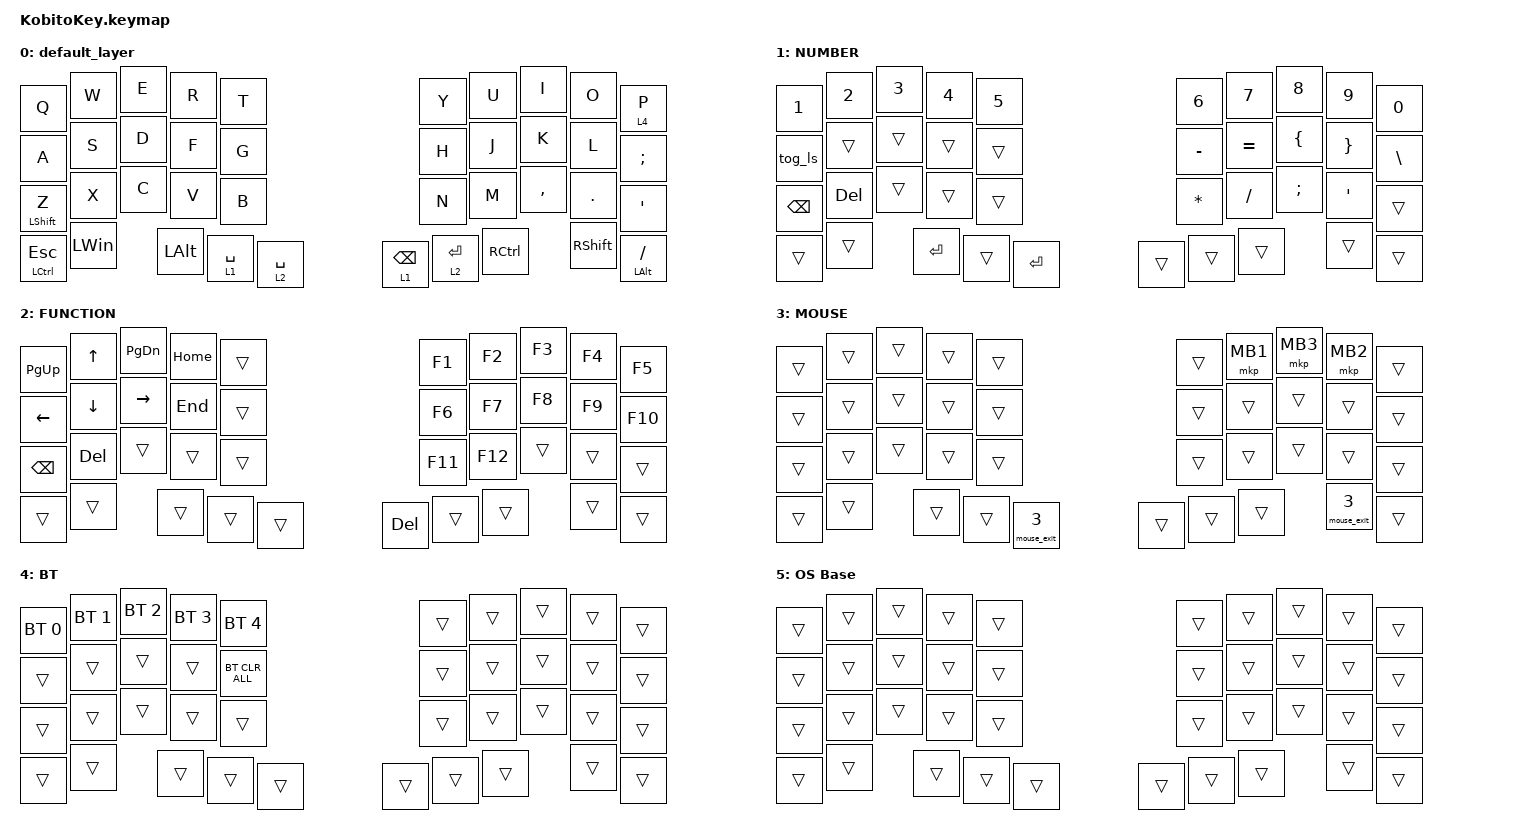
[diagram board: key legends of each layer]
#include <input/processors.dtsi>
#include <behaviors.dtsi>
#include <behaviors/runtime_macro.dtsi>
#include <dt-bindings/zmk/bt.h>
#include <dt-bindings/zmk/keys.h>
#include <dt-bindings/zmk/pointing.h>
#include "layout_shift.dtsi"

&tog_ls { layout-maps = <&layout_shift_map_us_to_jis>; };
&tog_ls_on { layout-maps = <&layout_shift_map_us_to_jis>; };
&tog_ls_off { layout-maps = <&layout_shift_map_us_to_jis>; };

/ {
    behaviors {
        mouse_exit: mouse_exit {
            compatible = "zmk,behavior-toggle-layer";
            #binding-cells = <1>;
            toggle-mode = "off";
            display-name = "Exit Mouse Layer";
            locking;
        };

        // Keep the original key_press behavior for ZMK core components

        original_key_press: original_key_press {
            compatible = "zmk,behavior-key-press";
            #binding-cells = <1>;
            label = "KEY_PRESS";
        };

        // Override the existing &kp behavior to use our custom implementation

        kp: key_press {
            compatible = "zmk,behavior-layout-shift-key-press";
            #binding-cells = <1>;
            label = "LAYOUT_SHIFT_KEY_PRESS";
        };
    };
};

/ {
    runtime_combo_defaults {
        compatible = "cormoran,runtime-combo-defaults";

        combo_eisu {
            slot = <0>;
            display-name = "Eisu";
            timeout-ms = <50>;
            key-positions = <12 13>;
            bindings = <&kp LANG2>;
        };

        combo_kana {
            slot = <1>;
            display-name = "Kana";
            timeout-ms = <50>;
            key-positions = <16 17>;
            bindings = <&kp LANG1>;
        };

        combo_esc {
            slot = <2>;
            display-name = "Esc";
            timeout-ms = <50>;
            key-positions = <0 1>;
            bindings = <&kp ESC>;
        };

        combo_tab {
            slot = <3>;
            display-name = "Tab";
            timeout-ms = <50>;
            key-positions = <10 11>;
            bindings = <&kp TAB>;
        };
    };

    keymap {
        compatible = "zmk,keymap";

        default_layer {
            bindings = <
&kp Q             &kp W     &kp E  &kp R     &kp T                                      &kp Y        &kp U      &kp I      &kp O      &lt 4 P
&kp A             &kp S     &kp D  &kp F     &kp G                                      &kp H        &kp J      &kp K      &kp L      &kp SEMI
&mt LEFT_SHIFT Z  &kp X     &kp C  &kp V     &kp B                                      &kp N        &kp M      &kp COMMA  &kp DOT    &kp APOS
&mt LCTRL ESCAPE  &kp LWIN         &kp LALT  &lt 1 SPACE  &lt 2 SPACE  &lt 1 BACKSPACE  &lt 2 ENTER  &kp RCTRL             &kp RSHFT  &mt LALT SLASH
            >;
        };

        NUM {
            label = "NUMBER";
            bindings = <
&kp N1         &kp N2   &kp N3  &kp N4     &kp N5                     &kp N6     &kp N7     &kp N8    &kp N9    &kp N0
&tog_ls        &trans   &trans  &trans     &trans                     &kp MINUS  &kp EQUAL  &kp LBRC  &kp RBRC  &kp BACKSLASH
&kp BACKSPACE  &kp DEL  &trans  &trans     &trans                     &kp ASTRK  &kp SLASH  &kp SEMI  &kp SQT   &trans
&trans         &trans           &kp ENTER  &trans  &kp ENTER  &trans  &trans     &trans               &trans    &trans
            >;
        };

        FUNC {
            label = "FUNCTION";
            bindings = <
&kp PG_UP      &kp UP    &kp PAGE_DOWN  &kp HOME  &trans                   &kp F1   &kp F2   &kp F3  &kp F4  &kp F5
&kp LEFT       &kp DOWN  &kp RIGHT      &kp END   &trans                   &kp F6   &kp F7   &kp F8  &kp F9  &kp F10
&kp BACKSPACE  &kp DEL   &trans         &trans    &trans                   &kp F11  &kp F12  &trans  &trans  &trans
&trans         &trans                   &trans    &trans  &trans  &kp DEL  &trans   &trans           &trans  &trans
            >;
        };

        MOUSE {
            label = "MOUSE";
            bindings = <
&trans  &trans  &trans  &trans  &trans                 &trans  &mkp MB1  &mkp MB3  &mkp MB2  &trans
&trans  &trans  &trans  &trans  &trans                 &trans  &trans    &trans    &trans    &trans
&trans  &trans  &trans  &trans  &trans                 &trans  &trans    &trans    &trans    &trans
&trans  &trans          &trans  &trans  &mouse_exit 3  &trans  &trans  &trans              &mouse_exit 3     &trans
            >;
        };

        BT {
            label = "BT";
            bindings = <
&bt BT_SEL 0  &bt BT_SEL 1  &bt BT_SEL 2  &bt BT_SEL 3  &bt BT_SEL 4                    &trans  &trans  &trans  &trans  &trans
&trans        &trans        &trans        &trans        &bt BT_CLR_ALL                  &trans  &trans  &trans  &trans  &trans
&trans        &trans        &trans        &trans        &trans                          &trans  &trans  &trans  &trans  &trans
&trans        &trans                      &trans        &trans          &trans  &trans  &trans  &trans          &trans  &trans
            >;
        };

        OS_BASE {
            label = "OS Base";
            bindings = <
                &trans  &trans  &trans  &trans  &trans  &trans  &trans  &trans  &trans  &trans
                &trans  &trans  &trans  &trans  &trans  &trans  &trans  &trans  &trans  &trans
                &trans  &trans  &trans  &trans  &trans  &trans  &trans  &trans  &trans  &trans
                &trans  &trans  &trans  &trans  &trans  &trans  &trans  &trans  &trans  &trans
            >;
        };
    };
};
